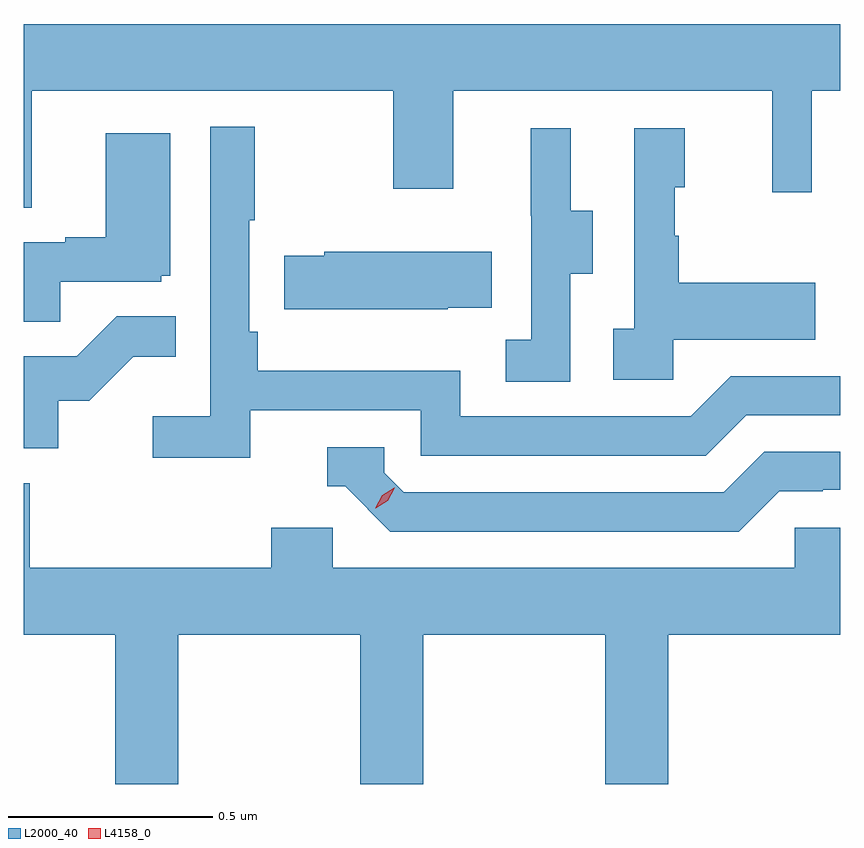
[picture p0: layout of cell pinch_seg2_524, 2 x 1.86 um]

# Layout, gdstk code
import gdstk
lib = gdstk.Library(unit=1e-6, precision=1e-09)
def P(c, l, *ps):  # polygons
    for p in ps: c.add(gdstk.Polygon(p, *l))
L2000_40 = (2000, 40)
L4158_0 = (4158, 0)

pinch_seg2_524 = lib.new_cell('pinch_seg2_524')
P(pinch_seg2_524, L2000_40, [(994.555,595.688),(995.44,595.688),(995.44,595.449),(995.587,595.449),(995.587,595.688),(996.368,595.688),(996.368,595.44),(996.465,595.44),(996.465,595.688),(996.535,595.688),(996.535,595.852),(994.535,595.852),(994.535,595.402),(994.555,595.402)],
  [(995.09,594.906),(995.508,594.906),(995.508,594.795),(996.205,594.795),(996.304,594.894),(996.535,594.894),(996.535,594.99),(996.267,594.99),(996.168,594.891),(995.604,594.891),(995.604,595.003),(995.108,595.003),(995.108,595.099),(995.088,595.099),(995.088,595.372),(995.101,595.372),(995.101,595.6),(994.992,595.6),(994.992,594.892),(994.851,594.892),(994.851,594.79),(995.09,594.79)],
  [(996.126,595.079),(996.473,595.079),(996.473,595.219),(996.139,595.219),(996.139,595.334),(996.129,595.334),(996.129,595.452),(996.154,595.452),(996.154,595.597),(996.03,595.597),(996.03,595.106),(995.979,595.106),(995.979,594.981),(996.126,594.981)],
  [(995.874,595.24),(995.929,595.24),(995.929,595.395),(995.875,595.395),(995.875,595.597),(995.777,595.597),(995.777,595.383),(995.778,595.383),(995.778,595.079),(995.715,595.079),(995.715,594.976),(995.874,594.976)],
  [(994.625,595.221),(994.872,595.221),(994.872,595.236),(994.894,595.236),(994.894,595.585),(994.736,595.585),(994.736,595.33),(994.637,595.33),(994.637,595.317),(994.535,595.317),(994.535,595.123),(994.625,595.123)],
  [(995.573,595.157),(995.681,595.157),(995.681,595.294),(995.271,595.294),(995.271,595.284),(995.173,595.284),(995.173,595.154),(995.573,595.154)],
  [(994.62,594.93),(994.696,594.93),(994.803,595.037),(994.907,595.037),(994.907,595.136),(994.763,595.136),(994.665,595.038),(994.535,595.038),(994.535,594.813),(994.62,594.813)],
  [(996.385,594.708),(996.492,594.708),(996.492,594.711),(996.535,594.711),(996.535,594.804),(996.348,594.804),(996.249,594.705),(995.466,594.705),(995.418,594.753),(995.418,594.816),(995.279,594.816),(995.279,594.72),(995.322,594.72),(995.433,594.609),(996.286,594.609)],
  [(995.359,593.991),(995.514,593.991),(995.514,594.356),(995.959,594.356),(995.959,593.991),(996.114,593.991),(996.114,594.356),(996.535,594.356),(996.535,594.618),(996.423,594.618),(996.423,594.52),(995.292,594.52),(995.292,594.618),(995.141,594.618),(995.141,594.52),(994.55,594.52),(994.55,594.728),(994.535,594.728),(994.535,594.356),(994.759,594.356),(994.759,593.991),(994.914,593.991),(994.914,594.356),(995.359,594.356)])
P(pinch_seg2_524, L4158_0, [(995.396,594.666),(995.396,594.666),(995.413,594.698),(995.443,594.717),(995.444,594.717),(995.444,594.717),(995.427,594.685),(995.397,594.666)])

lib.write_gds('pinch_seg2_524.gds')
